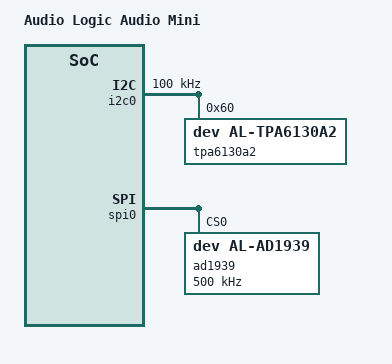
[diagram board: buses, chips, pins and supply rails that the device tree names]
// SPDX-License-Identifier: GPL-2.0+
#include "socfpga_cyclone5_de10_nano.dtsi"

/{
    model = "Audio Logic Audio Mini";
};

&i2c0{
    status = "okay";
    clock-frequency = <100000>;

    tpa6130a2@60 {
        compatible = "dev,al-tpa6130a2";
        // I2C address (in 7-bit form)
        reg = <0x60>;
    };    
};

&spi0{
    status = "okay";

    ad1939@0 {
        compatible = "dev,al-ad1939";
        spi-max-frequency = <500000>;

        // chip-select 0
        reg = <0>;

        // set spi mode to 3
        spi-cpol;
        spi-cpha;
    };

};
